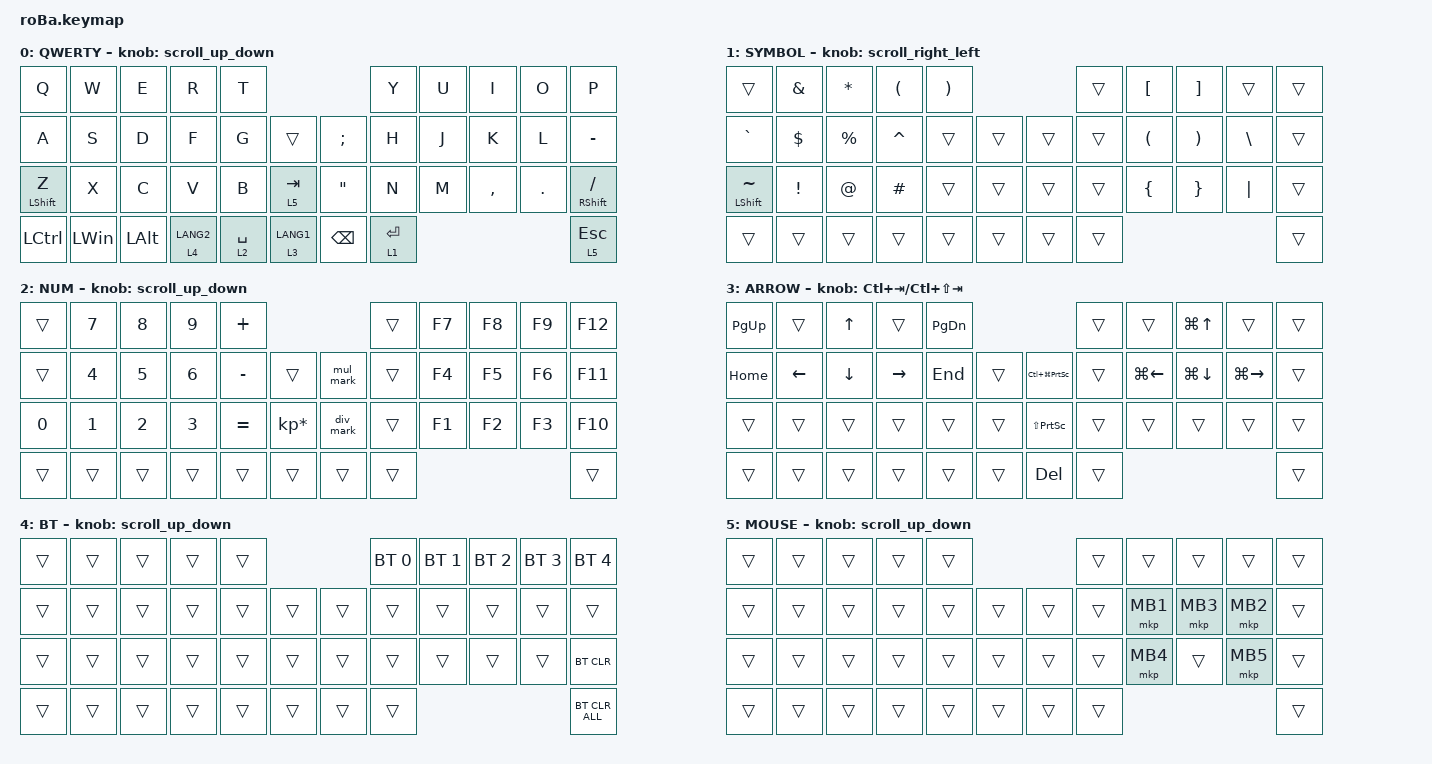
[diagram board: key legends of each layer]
#include <behaviors.dtsi>
#include <dt-bindings/zmk/bt.h>
#include <dt-bindings/zmk/keys.h>
#include <dt-bindings/zmk/pointing.h>

#define ZMK_POINTING_DEFAULT_SCRL_VAL 100

&mt {
    flavor = "balanced";
    quick-tap-ms = <0>;
};

&lt {
    quick-tap-ms = <200>;
    flavor = "balanced";
};

/ {
    macros {
        to_layer_0: to_layer_0 {
            compatible = "zmk,behavior-macro-one-param";
            #binding-cells = <1>;
            bindings = <&to 0 &macro_param_1to1 &kp MACRO_PLACEHOLDER>;
            label = "TO_LAYER_0";
        };

        mul_mark: x_sign_win {
            compatible = "zmk,behavior-macro";
            #binding-cells = <0>;
            wait-ms = <10>;
            tap-ms = <10>;
            bindings =
                <&macro_press>,
                <&kp LALT>,
                <&macro_tap>,
                <&kp KP_N0 &kp KP_N2 &kp KP_N1 &kp KP_N5>,
                <&macro_release>,
                <&kp LALT>;
        };

        div_mark: div_mark {
            compatible = "zmk,behavior-macro";
            label = "DIV_MARK";
            #binding-cells = <0>;
            wait-ms = <10>;
            tap-ms = <10>;
            bindings =
                <&macro_press>,
                <&kp LALT>,
                <&macro_tap>,
                <&kp KP_N0 &kp KP_N2 &kp KP_N4 &kp KP_N7>,
                <&macro_release>,
                <&kp LALT>;
        };
    };

    behaviors {
        lt_to_layer_0: lt_to_layer_0 {
            compatible = "zmk,behavior-hold-tap";
            label = "LAYER_TAP_TO_0";
            #binding-cells = <2>;
            tapping-term-ms = <200>;
            bindings = <&mo>, <&to_layer_0>;
        };

        scroll_up_down: mouse_wheel_up_down {
            compatible = "zmk,behavior-sensor-rotate";
            #sensor-binding-cells = <0>;
            tap-ms = <20>;
            bindings = <&msc SCRL_DOWN>, <&msc SCRL_UP>;
        };

        scroll_right_left: mouse_wheel_right_left {
            compatible = "zmk,behavior-sensor-rotate";
            #sensor-binding-cells = <0>;
            tap-ms = <20>;
            bindings = <&msc SCRL_LEFT>, <&msc SCRL_RIGHT>;
        };
    };

    keymap {
        compatible = "zmk,keymap";

        QWERTY {
            bindings = <
&kp Q              &kp W         &kp E         &kp R        &kp T                                                     &kp Y              &kp U  &kp I      &kp O    &kp P
&kp A              &kp S         &kp D         &kp F        &kp G        &trans                    &kp SEMICOLON      &kp H              &kp J  &kp K      &kp L    &kp MINUS
&mt LEFT_SHIFT Z   &kp X         &kp C         &kp V        &kp B        &lt 5 TAB                 &kp DOUBLE_QUOTES  &kp N              &kp M  &kp COMMA  &kp DOT  &mt RIGHT_SHIFT SLASH
&kp LCTRL          &kp LEFT_WIN  &kp LEFT_ALT  &lt 4 LANG2  &lt 2 SPACE  &lt_to_layer_0 3 LANG1    &kp BACKSPACE      &lt 1 ENTER                                &lt 5 ESCAPE
            >;

            sensor-bindings = <&scroll_up_down>;
        };

        SYMBOL {
            bindings = <
&trans           &kp AMPERSAND  &kp ASTRK    &kp LEFT_PARENTHESIS  &kp RIGHT_PARENTHESIS                    &trans  &kp LEFT_BRACKET      &kp RIGHT_BRACKET      &trans         &trans
&kp GRAVE        &kp DOLLAR     &kp PERCENT  &kp CARET             &trans  &trans                           &trans  &trans  &kp LEFT_PARENTHESIS  &kp RIGHT_PARENTHESIS  &kp BACKSLASH  &trans
&mt LSHFT TILDE  &kp EXCL       &kp AT       &kp HASH              &trans  &trans                 &trans    &trans  &kp LEFT_BRACE        &kp RIGHT_BRACE        &kp PIPE       &trans
&trans           &trans         &trans       &trans                &trans  &trans                 &trans    &trans                                                              &trans
            >;

            sensor-bindings = <&scroll_right_left>;
        };

        NUM {
            bindings = <
&trans  &kp N7  &kp N8  &kp N9  &kp PLUS                                 &trans     &kp F7  &kp F8  &kp F9  &kp F12
&trans  &kp N4  &kp N5  &kp N6  &kp MINUS  &trans                     &mul_mark  &trans  &kp F4  &kp F5  &kp F6  &kp F11
&kp N0  &kp N1  &kp N2  &kp N3  &kp EQUAL  &kp KP_MULTIPLY    &div_mark  &trans  &kp F1  &kp F2  &kp F3  &kp F10
&trans  &trans  &trans  &trans  &trans     &trans             &trans     &trans                          &trans
            >;

            sensor-bindings = <&scroll_up_down>;
        };

        ARROW {
            bindings = <
&kp PAGE_UP  &trans    &kp UP_ARROW  &trans           &kp PAGE_DOWN                                     &trans                 &trans  &kp LG(UP_ARROW)    &trans               &trans
&kp HOME     &kp LEFT  &kp DOWN      &kp RIGHT_ARROW  &kp END   &trans                  &kp LC(LG(PRINTSCREEN))  &trans  &kp LG(LEFT_ARROW)  &kp LG(DOWN_ARROW)  &kp LG(RIGHT_ARROW)  &trans
&trans       &trans    &trans        &trans           &trans    &trans                  &kp LS(PRINTSCREEN)      &trans  &trans              &trans              &trans               &trans
&trans       &trans    &trans        &trans           &trans    &trans                  &kp DEL                  &trans                                                               &trans
            >;

            sensor-bindings = <&inc_dec_kp LC(TAB) LC(LS(TAB))>;
        };

        BT {
            bindings = <
&trans  &trans  &trans  &trans  &trans                         &bt BT_SEL 0  &bt BT_SEL 1  &bt BT_SEL 2  &bt BT_SEL 3  &bt BT_SEL 4
&trans  &trans  &trans  &trans  &trans  &trans            &trans       &trans        &trans        &trans        &trans        &trans
&trans  &trans  &trans  &trans  &trans  &trans    &trans       &trans        &trans        &trans        &trans        &bt BT_CLR
&trans  &trans  &trans  &trans  &trans  &trans    &trans       &trans                                                  &bt BT_CLR_ALL
            >;

            sensor-bindings = <&scroll_up_down>;
        };

        MOUSE {
            bindings = <
&trans  &trans  &trans  &trans  &trans                    &trans  &trans    &trans    &trans    &trans
&trans  &trans  &trans  &trans  &trans  &trans            &trans  &trans  &mkp MB1  &mkp MB3  &mkp MB2  &trans
&trans  &trans  &trans  &trans  &trans  &trans    &trans  &trans  &mkp MB4  &trans    &mkp MB5  &trans
&trans  &trans  &trans  &trans  &trans  &trans    &trans  &trans                                &trans
            >;

            sensor-bindings = <&scroll_up_down>;
        };
    };
};
